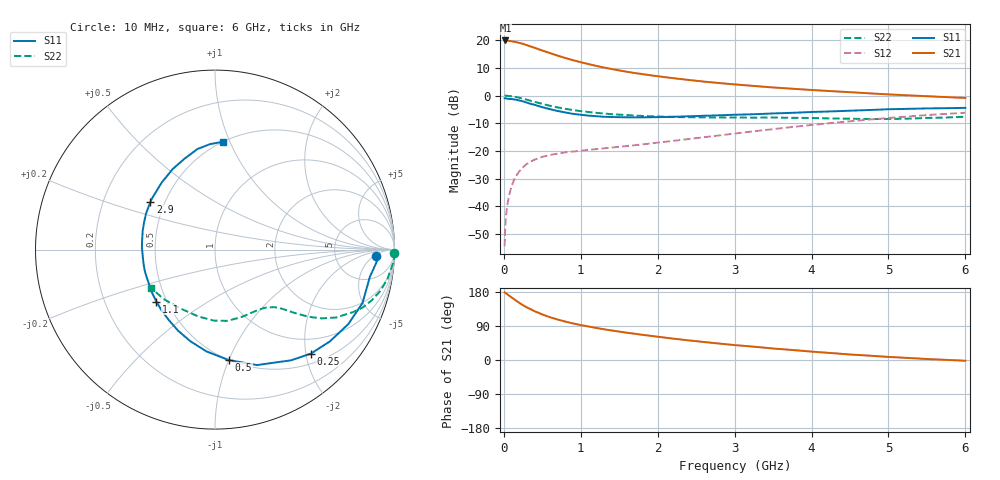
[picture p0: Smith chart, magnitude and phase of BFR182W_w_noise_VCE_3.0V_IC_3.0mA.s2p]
! (c) 2017  Infineon Technologies AG, Munich
! Infineon Technologies  Discrete & RF Semiconductors
! BFR182W
! VCE =  3.0 V,  IC =  3.0 mA
! Common Emitter S-Parameters:  Jan 2017
# GHz  S  MA  R  50
!  f  S11  S21  S12  S22
! GHz  MAG  ANG  MAG  ANG  MAG  ANG  MAG  ANG
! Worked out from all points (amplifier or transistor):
!   77 points, 10 MHz to 6 GHz, reference 50 ohm
!   highest |S21| = 20.0 dB at 20 MHz (marker M1)
!   |S21| within 3 dB of that: start of sweep to 435.8 MHz
!   unconditionally stable (mu >= 1): 1.577 GHz to 3.1 GHz
!   at 130 MHz: K = 0.12, MSG = 25.1 dB, |S12| = -30.6 dB
!   at 2.2 GHz: K = 1.07, MAG = 9.7 dB, |S12| = -16.4 dB
!   at 6 GHz: K = 0.84, MSG = 2.7 dB, |S12| = -6.2 dB
!   lowest NFmin = 0.82 dB at 450 MHz
!   S11 on the Smith chart (normalised r, x): 10 MHz: 16, -6; 250 MHz: 0.69, -2.10; 500 MHz: 0.50, -1.00; 1.1 GHz: 0.44, -0.31; 2.9 GHz: 0.42, +0.28; 6 GHz: 0.50, +0.94
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0.01  0.8957 -2.2  9.897 178.6  0.0019 96.6  1 -1.0
0.02  0.9049 -4.0  9.965 177.3  0.0047 89.9  1 -2.1
0.07  0.8721 -14.0  9.765 169.7  0.016 80.5  0.9846 -6.8
0.1  0.8741 -19.9  9.658 165.3  0.0228 78.3  0.9751 -9.6
0.15  0.8508 -29.2  9.37 158.0  0.034 74.0  0.9499 -14.0
0.2  0.8195 -38.6  9.008 151.0  0.0426 69.9  0.9182 -17.9
0.25  0.7882 -47.3  8.643 144.4  0.0512 65.4  0.8838 -21.4
0.3  0.7484 -55.5  8.185 138.7  0.0585 61.7  0.844 -24.4
0.4  0.6847 -70.0  7.359 128.6  0.0698 55.9  0.7734 -29.3
0.5  0.6201 -82.9  6.555 120.2  0.0784 52.0  0.7095 -32.7
0.6  0.5696 -94.7  5.881 112.9  0.0849 48.9  0.6566 -35.0
0.7  0.5285 -105.1  5.284 106.7  0.0895 47.5  0.6127 -36.7
0.8  0.4967 -114.4  4.803 101.3  0.0943 46.6  0.5778 -38.1
0.9  0.4693 -123.3  4.376 96.5  0.0977 45.6  0.549 -39.2
1.1  0.4365 -138.4  3.726 88.4  0.105 46.2  0.5069 -41.0
1.5  0.4087 -163.3  2.862 75.0  0.1189 48.5  0.4534 -45.0
2.1  0.4117 169.3  2.157 59.0  0.1469 53.5  0.4159 -53.4
2.9  0.4465 143.7  1.644 41.4  0.1986 56.9  0.4033 -68.3
3.1  0.4556 138.3  1.559 37.7  0.2145 56.9  0.4017 -72.2
4.1  0.5117 115.7  1.244 20.7  0.3048 53.1  0.3918 -93.4
5.1  0.5721 98.4  1.038 7.1  0.4051 44.6  0.3809 -122.9
6  0.6019 86.0  0.909 -2.0  0.4919 34.8  0.4165 -149.0
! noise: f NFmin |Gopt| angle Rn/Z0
0.45  0.82  0.39  31  0.2
0.9  0.95  0.3  57  0.2
1.9  1.6  0.25  149  0.12
2.4  1.92  0.23  170  0.17
